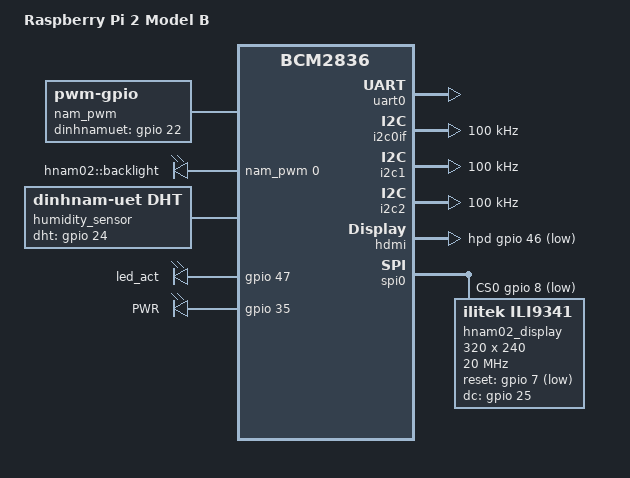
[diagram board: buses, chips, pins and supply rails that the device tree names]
/dts-v1/;

#include "bcm2709.dtsi"
#include "bcm2709-rpi.dtsi"
#include "bcm283x-rpi-smsc9514.dtsi"
#include "bcm283x-rpi-csi1-2lane.dtsi"
#include "bcm283x-rpi-i2c0mux_0_28.dtsi"
#include "bcm283x-rpi-led-deprecated.dtsi"

/ {
	compatible = "raspberrypi,2-model-b", "brcm,bcm2836";
	model = "Raspberry Pi 2 Model B";
};

&gpio {
	/*
	 * Taken from rpi_SCH_2b_1p2_reduced.pdf and
	 * the official GPU firmware DT blob.
	 *
	 * Legend:
	 * "NC" = not connected (no rail from the SoC)
	 * "FOO" = GPIO line named "FOO" on the schematic
	 * "FOO_N" = GPIO line named "FOO" on schematic, active low
	 */
	gpio-line-names = "ID_SDA",
			  "ID_SCL",
			  "GPIO2",
			  "GPIO3",
			  "GPIO4",
			  "GPIO5",
			  "GPIO6",
			  "GPIO7",
			  "GPIO8",
			  "GPIO9",
			  "GPIO10",
			  "GPIO11",
			  "GPIO12",
			  "GPIO13",
			  "GPIO14",
			  "GPIO15",
			  "GPIO16",
			  "GPIO17",
			  "GPIO18",
			  "GPIO19",
			  "GPIO20",
			  "GPIO21",
			  "GPIO22",
			  "GPIO23",
			  "GPIO24",
			  "GPIO25",
			  "GPIO26",
			  "GPIO27",
			  "SDA0",
			  "SCL0",
			  "NC", /* GPIO30 */
			  "LAN_RUN",
			  "CAM_GPIO1",
			  "NC", /* GPIO33 */
			  "NC", /* GPIO34 */
			  "PWR_LOW_N",
			  "NC", /* GPIO36 */
			  "NC", /* GPIO37 */
			  "USB_LIMIT",
			  "NC", /* GPIO39 */
			  "PWM0_OUT",
			  "CAM_GPIO0",
			  "SMPS_SCL",
			  "SMPS_SDA",
			  "ETH_CLK",
			  "PWM1_OUT",
			  "HDMI_HPD_N",
			  "STATUS_LED",
			  /* Used by SD Card */
			  "SD_CLK_R",
			  "SD_CMD_R",
			  "SD_DATA0_R",
			  "SD_DATA1_R",
			  "SD_DATA2_R",
			  "SD_DATA3_R";

	spi0_pins: spi0_pins {
		brcm,pins = <9 10 11>;
		brcm,function = <4>; /* alt0 */
	};

	spi0_cs_pins: spi0_cs_pins {
		brcm,pins = <8 7>;
		brcm,function = <1>; /* output */
	};

	i2c0_pins: i2c0 {
		brcm,pins = <0 1>;
		brcm,function = <4>;
	};

	i2c1_pins: i2c1 {
		brcm,pins = <2 3>;
		brcm,function = <4>;
	};

	i2s_pins: i2s {
		brcm,pins = <18 19 20 21>;
		brcm,function = <4>; /* alt0 */
	};

	audio_pins: audio_pins {
		brcm,pins = <40 45>;
		brcm,function = <4>;
		brcm,pull = <0>;
	};
};

&uart0 {
	status = "okay";
};

&i2c0if {
	clock-frequency = <100000>;
};

&i2c1 {
	pinctrl-names = "default";
	pinctrl-0 = <&i2c1_pins>;
	clock-frequency = <100000>;
};

&i2c2 {
	clock-frequency = <100000>;
};

&i2s {
	pinctrl-names = "default";
	pinctrl-0 = <&i2s_pins>;
};

&led_act {
	gpios = <&gpio 47 GPIO_ACTIVE_HIGH>;
	default-state = "off";
	linux,default-trigger = "mmc0";
};

&leds {
	led_pwr: led-pwr {
		label = "PWR";
		gpios = <&gpio 35 GPIO_ACTIVE_HIGH>;
		default-state = "off";
		linux,default-trigger = "input";
	};
};

&hdmi {
	hpd-gpios = <&gpio 46 GPIO_ACTIVE_LOW>;
};

&vchiq {
	pinctrl-names = "default";
	pinctrl-0 = <&audio_pins>;
};

&cam1_reg {
	gpio = <&gpio 41 GPIO_ACTIVE_HIGH>;
};

cam0_reg: &cam_dummy_reg {
};

i2c_csi_dsi0: &i2c0 {
};

/ {
	__overrides__ {
		audio = <&chosen>,"bootargs{on='snd_bcm2835.enable_headphones=1 snd_bcm2835.enable_hdmi=1',off='snd_bcm2835.enable_headphones=0 snd_bcm2835.enable_hdmi=0'}";

		act_led_gpio = <&led_act>,"gpios:4";
		act_led_activelow = <&led_act>,"gpios:8";
		act_led_trigger = <&led_act>,"linux,default-trigger";

		pwr_led_gpio = <&led_pwr>,"gpios:4";
		pwr_led_activelow = <&led_pwr>,"gpios:8";
		pwr_led_trigger = <&led_pwr>,"linux,default-trigger";
	};
};

&spi0 {
	status = "okay";
	#address-cells = <1>;
	#size-cells = <0>;
	pinctrl-names = "default";
	pinctrl-0 = <&spi0_pins &spi0_cs_pins>;
	cs-gpios = <&gpio 8 GPIO_ACTIVE_LOW>;

	hnam02_display: hnam02-display@0 {
		compatible = "ilitek,ili9341";
		reg = <0>;

		spi-max-frequency = <20000000>;
		width = <320>;
		height = <240>;
		regwidth = <8>;
		rotate = <180>;
		fps = <30>;
		buswidth = <8>;
		reset-gpios = <&gpio 7 GPIO_ACTIVE_LOW>;
		dc-gpios = <&gpio 25 GPIO_ACTIVE_HIGH>;
		status = "okay";
	};
};

/ {
	nam_pwm: nampwm@0 {
		compatible = "pwm-gpio";
		#pwm-cells = <2>;
		dinhnamuet-gpios = <&gpio 22 GPIO_ACTIVE_HIGH>;
		status = "okay";
	};

	pwmleds {
		compatible = "pwm-leds";
		hnam02_backlight {
			label = "hnam02::backlight";
			pwms = <&nam_pwm 0 7812500>;
			max-brightness = <255>;
			default-state = "on";
			status = "okay";
		};
	};

	humidity_sensor {
		compatible = "dinhnam-uet,dht";
		dht-gpios = <&gpio 24 GPIO_OPEN_DRAIN>;
		status = "okay";
	};
};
